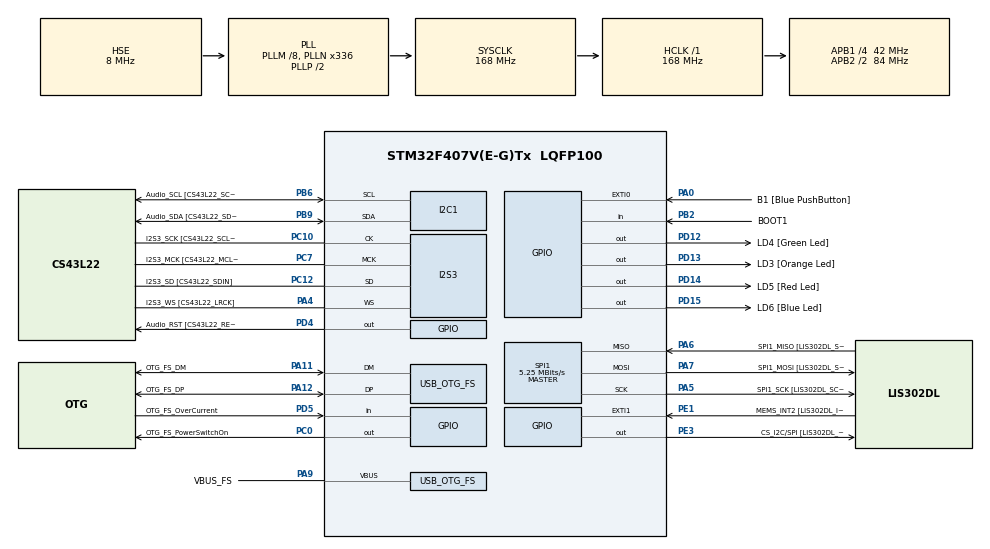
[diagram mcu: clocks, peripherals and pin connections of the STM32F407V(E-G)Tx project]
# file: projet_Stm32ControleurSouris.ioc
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I2S3.AudioFreq-Half_Duplex_Master=I2S_AUDIOFREQ_96K
I2S3.ErrorAudioFreq=-2.34 %
I2S3.ErrorAudioFreq-Half_Duplex_Master=0.8 %
I2S3.FullDuplexMode=I2S_FULLDUPLEXMODE_DISABLE
I2S3.Instance=SPI$Index
I2S3.RealAudioFreq=93.75 KHz
I2S3.RealAudioFreq-Half_Duplex_Master=96.774 KHz
I2S3.VirtualMode=I2S_MODE_MASTER
Mcu.Family=STM32F4
Mcu.Name=STM32F407V(E-G)Tx
Mcu.Package=LQFP100
NVIC.OTG_FS_IRQn=true\:0\:0\:false\:false\:true\:true\:true\:true
NVIC.PriorityGroup=NVIC_PRIORITYGROUP_0
PA0-WKUP.GPIO_Label=B1 [Blue PushButton]
PA0-WKUP.GPIO_ModeDefaultEXTI=GPIO_MODE_EVT_RISING
PA0-WKUP.GPIO_PuPd=GPIO_NOPULL
PA0-WKUP.Signal=GPXTI0
PA10.GPIO_Label=OTG_FS_ID
PA10.GPIO_Mode=GPIO_MODE_AF_PP
PA10.GPIO_PuPd=GPIO_NOPULL
PA10.GPIO_Speed=GPIO_SPEED_FREQ_LOW
PA10.Signal=USB_OTG_FS_ID
PA11.GPIO_Label=OTG_FS_DM
PA11.GPIO_Mode=GPIO_MODE_AF_PP
PA11.GPIO_PuPd=GPIO_NOPULL
PA11.GPIO_Speed=GPIO_SPEED_FREQ_LOW
PA11.Mode=Device_Only
PA11.Signal=USB_OTG_FS_DM
PA12.GPIO_Label=OTG_FS_DP
PA12.GPIO_Mode=GPIO_MODE_AF_PP
PA12.GPIO_PuPd=GPIO_NOPULL
PA12.GPIO_Speed=GPIO_SPEED_FREQ_LOW
PA12.Mode=Device_Only
PA12.Signal=USB_OTG_FS_DP
PA13.GPIO_Label=SWDIO
PA13.Mode=Serial_Wire
PA13.Signal=SYS_JTMS-SWDIO
PA14.GPIO_Label=SWCLK
PA14.Mode=Serial_Wire
PA14.Signal=SYS_JTCK-SWCLK
PA4.GPIO_Label=I2S3_WS [CS43L22_LRCK]
PA4.GPIO_Mode=GPIO_MODE_AF_PP
PA4.GPIO_PuPd=GPIO_NOPULL
PA4.GPIO_Speed=GPIO_SPEED_FREQ_LOW
PA4.Mode=Half_Duplex_Master
PA4.Signal=I2S3_WS
PA5.GPIO_Label=SPI1_SCK [LIS302DL_SCL/SPC]
PA5.GPIO_Mode=GPIO_MODE_AF_PP
PA5.GPIO_PuPd=GPIO_NOPULL
PA5.GPIO_Speed=GPIO_SPEED_FREQ_LOW
PA5.Mode=Full_Duplex_Master
PA5.Signal=SPI1_SCK
PA6.GPIO_Label=SPI1_MISO [LIS302DL_SDO]
PA6.GPIO_Mode=GPIO_MODE_AF_PP
PA6.GPIO_PuPd=GPIO_NOPULL
PA6.GPIO_Speed=GPIO_SPEED_FREQ_LOW
PA6.Mode=Full_Duplex_Master
PA6.Signal=SPI1_MISO
PA7.GPIO_Label=SPI1_MOSI [LIS302DL_SDA/SDI/SDO]
PA7.GPIO_Mode=GPIO_MODE_AF_PP
PA7.GPIO_PuPd=GPIO_NOPULL
PA7.GPIO_Speed=GPIO_SPEED_FREQ_LOW
PA7.Mode=Full_Duplex_Master
PA7.Signal=SPI1_MOSI
PA9.GPIO_Label=VBUS_FS
PA9.GPIO_Mode=GPIO_MODE_INPUT
PA9.GPIO_PuPd=GPIO_NOPULL
PA9.Mode=Activate_VBUS
PA9.Signal=USB_OTG_FS_VBUS
PB10.GPIO_Label=CLK_IN [MP45DT02_CLK]
PB10.GPIO_Mode=GPIO_MODE_AF_PP
PB10.GPIO_PuPd=GPIO_NOPULL
PB10.GPIO_Speed=GPIO_SPEED_FREQ_LOW
PB10.Signal=I2S2_CK
PB2.GPIO_Label=BOOT1
PB2.GPIO_Mode=GPIO_MODE_INPUT
PB2.GPIO_PuPd=GPIO_NOPULL
PB2.Signal=GPIO_Input
PB3.GPIO_Label=SWO
PB3.Signal=SYS_JTDO-SWO
PB6.GPIO_Label=Audio_SCL [CS43L22_SCL]
PB6.GPIO_Mode=GPIO_MODE_AF_OD
PB6.GPIO_Pu=GPIO_PULLUP
PB6.GPIO_PuPd=GPIO_NOPULL
PB6.GPIO_Speed=GPIO_SPEED_FREQ_LOW
PB6.Mode=I2C
PB6.Signal=I2C1_SCL
PB9.GPIO_Label=Audio_SDA [CS43L22_SDA]
PB9.GPIO_Mode=GPIO_MODE_AF_OD
PB9.GPIO_Pu=GPIO_PULLUP
PB9.GPIO_PuPd=GPIO_NOPULL
PB9.GPIO_Speed=GPIO_SPEED_FREQ_LOW
PB9.Mode=I2C
PB9.Signal=I2C1_SDA
PC0.GPIO_Label=OTG_FS_PowerSwitchOn
PC0.GPIO_PuPd=GPIO_NOPULL
PC0.GPIO_Speed=GPIO_SPEED_FREQ_LOW
PC0.PinState=GPIO_PIN_SET
PC0.Signal=GPIO_Output
PC10.GPIO_Label=I2S3_SCK [CS43L22_SCLK]
PC10.GPIO_Mode=GPIO_MODE_AF_PP
PC10.GPIO_PuPd=GPIO_NOPULL
PC10.GPIO_Speed=GPIO_SPEED_FREQ_LOW
PC10.Mode=Half_Duplex_Master
PC10.Signal=I2S3_CK
PC12.GPIO_Label=I2S3_SD [CS43L22_SDIN]
PC12.GPIO_Mode=GPIO_MODE_AF_PP
PC12.GPIO_PuPd=GPIO_NOPULL
PC12.GPIO_Speed=GPIO_SPEED_FREQ_LOW
PC12.Mode=Half_Duplex_Master
PC12.Signal=I2S3_SD
PC14-OSC32_IN.GPIO_Label=PC14-OSC32_IN
PC14-OSC32_IN.Mode=LSE-External-Oscillator
PC14-OSC32_IN.Signal=RCC_OSC32_IN
PC15-OSC32_OUT.GPIO_Label=PC15-OSC32_OUT
PC15-OSC32_OUT.Mode=LSE-External-Oscillator
PC15-OSC32_OUT.Signal=RCC_OSC32_OUT
PC3.GPIO_Label=PDM_OUT [MP45DT02_DOUT]
PC3.GPIO_Mode=GPIO_MODE_AF_PP
PC3.GPIO_PuPd=GPIO_NOPULL
PC3.GPIO_Speed=GPIO_SPEED_FREQ_LOW
PC3.Signal=I2S2_SD
PC7.GPIO_Label=I2S3_MCK [CS43L22_MCLK]
PC7.GPIO_Mode=GPIO_MODE_AF_PP
PC7.GPIO_PuPd=GPIO_NOPULL
PC7.GPIO_Speed=GPIO_SPEED_FREQ_LOW
PC7.Mode=Master_Clock_Activated
PC7.Signal=I2S3_MCK
PD12.GPIO_Label=LD4 [Green Led]
PD12.GPIO_PuPd=GPIO_NOPULL
PD12.GPIO_Speed=GPIO_SPEED_FREQ_LOW
PD12.Signal=GPIO_Output
PD13.GPIO_Label=LD3 [Orange Led]
PD13.GPIO_PuPd=GPIO_NOPULL
PD13.GPIO_Speed=GPIO_SPEED_FREQ_LOW
PD13.Signal=GPIO_Output
PD14.GPIO_Label=LD5 [Red Led]
PD14.GPIO_PuPd=GPIO_NOPULL
PD14.GPIO_Speed=GPIO_SPEED_FREQ_LOW
PD14.Signal=GPIO_Output
PD15.GPIO_Label=LD6 [Blue Led]
PD15.GPIO_PuPd=GPIO_NOPULL
PD15.GPIO_Speed=GPIO_SPEED_FREQ_LOW
PD15.Signal=GPIO_Output
PD4.GPIO_Label=Audio_RST [CS43L22_RESET]
PD4.GPIO_PuPd=GPIO_NOPULL
PD4.GPIO_Speed=GPIO_SPEED_FREQ_LOW
PD4.Signal=GPIO_Output
PD5.GPIO_Label=OTG_FS_OverCurrent
PD5.GPIO_Mode=GPIO_MODE_INPUT
PD5.GPIO_PuPd=GPIO_NOPULL
PD5.Signal=GPIO_Input
PE1.GPIO_Label=MEMS_INT2 [LIS302DL_INT2]
PE1.GPIO_ModeDefaultEXTI=GPIO_MODE_EVT_RISING
PE1.GPIO_PuPd=GPIO_NOPULL
PE1.Signal=GPXTI1
PE3.GPIO_Label=CS_I2C/SPI [LIS302DL_CS_I2C/SPI]
PE3.GPIO_PuPd=GPIO_NOPULL
PE3.GPIO_Speed=GPIO_SPEED_FREQ_LOW
PE3.Signal=GPIO_Output
PH0-OSC_IN.GPIO_Label=PH0-OSC_IN
PH0-OSC_IN.Mode=HSE-External-Oscillator
PH0-OSC_IN.Signal=RCC_OSC_IN
PH1-OSC_OUT.GPIO_Label=PH1-OSC_OUT
PH1-OSC_OUT.Mode=HSE-External-Oscillator
PH1-OSC_OUT.Signal=RCC_OSC_OUT
ProjectManager.HeapSize=0x200
ProjectManager.StackSize=0x400
ProjectManager.TargetToolchain=STM32CubeIDE
RCC.48MHZClocksFreq_Value=48000000
RCC.AHBFreq_Value=168000000
RCC.APB1CLKDivider=RCC_HCLK_DIV4
RCC.APB1Freq_Value=42000000
RCC.APB1TimFreq_Value=84000000
RCC.APB2CLKDivider=RCC_HCLK_DIV2
RCC.APB2Freq_Value=84000000
RCC.APB2TimFreq_Value=168000000
RCC.CortexFreq_Value=168000000
RCC.HCLKFreq_Value=168000000
RCC.HSE_VALUE=8000000
RCC.HSI_VALUE=16000000
RCC.PLLM=8
RCC.PLLN=336
RCC.PLLQ=7
RCC.SYSCLKFreq_VALUE=168000000
RCC.SYSCLKSource=RCC_SYSCLKSOURCE_PLLCLK
RCC.VCOOutputFreq_Value=336000000
SPI1.BaudRatePrescaler=SPI_BAUDRATEPRESCALER_16
SPI1.BaudRatePrescaler-Full_Duplex_Master=SPI_BAUDRATEPRESCALER_2
SPI1.CalculateBaudRate=5.25 MBits/s
SPI1.CalculateBaudRate-Full_Duplex_Master=42.0 MBits/s
SPI1.Direction=SPI_DIRECTION_2LINES
SPI1.Mode=SPI_MODE_MASTER
SPI1.Mode-Full_Duplex_Master=SPI_MODE_MASTER
SPI1.VirtualType=VM_MASTER
USB_DEVICE.CLASS_NAME_FS=HID
USB_DEVICE.VirtualMode-HID_FS=Hid
USB_DEVICE.VirtualModeFS=Hid_FS
USB_OTG_FS.VirtualMode=Device_Only
VP_USB_DEVICE_VS_USB_DEVICE_HID_FS.Mode=HID_FS
board=STM32F407G-DISC1

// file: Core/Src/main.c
/* USER CODE BEGIN Header */
/**
  ******************************************************************************
  * @file           : main.c
  * @brief          : Main program body
  ******************************************************************************
  * @attention
  *
  * Copyright (c) 2026 STMicroelectronics.
  * All rights reserved.
  *
  * This software is licensed under terms that can be found in the LICENSE file
  * in the root directory of this software component.
  * If no LICENSE file comes with this software, it is provided AS-IS.
  *
  ******************************************************************************
  */
/* USER CODE END Header */
#include "main.h"
#include "usb_device.h"

/* USER CODE BEGIN Includes */
#include "usbd_hid.h"
/* USER CODE END Includes */

I2C_HandleTypeDef hi2c1;

I2S_HandleTypeDef hi2s3;

SPI_HandleTypeDef hspi1;

/* USER CODE BEGIN PV */
extern USBD_HandleTypeDef hUsbDeviceFS;
/* USER CODE END PV */

void SystemClock_Config(void);
static void MX_GPIO_Init(void);
static void MX_I2C1_Init(void);
static void MX_I2S3_Init(void);
static void MX_SPI1_Init(void);
/* USER CODE BEGIN PFP */
void MEMS_Write(uint8_t address, uint8_t data);
void MEMS_Read(uint8_t address, uint8_t *data);
/* USER CODE END PFP */

int main(void)
{

  /* MCU Configuration--------------------------------------------------------*/

  /* Reset of all peripherals, Initializes the Flash interface and the Systick. */
  HAL_Init();

  /* Configure the system clock */
  SystemClock_Config();

  /* Initialize all configured peripherals */
  MX_GPIO_Init();
  MX_I2C1_Init();
  MX_I2S3_Init();
  MX_SPI1_Init();
  MX_USB_DEVICE_Init();
  /* USER CODE BEGIN 2 */
  HAL_GPIO_WritePin(GPIOE, GPIO_PIN_3, GPIO_PIN_SET); // 1. Forcer la broche à l'état inactif
  HAL_Delay(50);                                      // 2. Attendre la tension
  MEMS_Write(0x20, 0x47);                             // 3. Allumer le capteur
  /* USER CODE END 2 */

  /* Infinite loop */
  /* USER CODE BEGIN WHILE */
  while (1)
  {
	  uint8_t x_raw, y_raw;

	    MEMS_Read(0x29, &x_raw);
	    MEMS_Read(0x2B, &y_raw);

	    int8_t x_accel = (int8_t)x_raw;
	    int8_t y_accel = (int8_t)y_raw;

	    // 1. REGLAGE DU SEUIL (Zone morte)
	    // Augmentez la valeur (ex: 20 ou 25) pour que la souris soit moins sensible aux petits tremblements.
	    // Diminuez la valeur (ex: 5) pour qu'elle réagisse au moindre mouvement.
	    int seuil = 15;
	    if (x_accel > -seuil && x_accel < seuil) x_accel = 0;
	    if (y_accel > -seuil && y_accel < seuil) y_accel = 0;

	    // 2. REGLAGE DE LA SENSIBILITÉ (Vitesse)
	    // Ajustement de la vitesse de pointe du curseur :
	    // 2 = Souris très rapide
	    // 4 = Vitesse moyenne
	    // 8 = Souris très lente et précise
	    int diviseur = 4;

	    // Le '-' sur l'axe X inverse le mouvement pour qu'il soit logique sur l'écran
	    int8_t x_mouse = x_accel / -diviseur;
	    int8_t y_mouse = y_accel / diviseur;

	    struct {
	        uint8_t buttons;
	        int8_t x;
	        int8_t y;
	        int8_t wheel;
	    } mouse_report = {0, x_mouse, y_mouse, 0};

	    USBD_HID_SendReport(&hUsbDeviceFS, (uint8_t*)&mouse_report, sizeof(mouse_report));

	    HAL_Delay(10); // Rafraîchissement toutes les 10ms
    /* USER CODE END WHILE */

  }
}

void SystemClock_Config(void)
{
  RCC_OscInitTypeDef RCC_OscInitStruct = {0};
  RCC_ClkInitTypeDef RCC_ClkInitStruct = {0};

  /** Configure the main internal regulator output voltage
  */
  __HAL_RCC_PWR_CLK_ENABLE();
  __HAL_PWR_VOLTAGESCALING_CONFIG(PWR_REGULATOR_VOLTAGE_SCALE1);

  /** Initializes the RCC Oscillators according to the specified parameters
  * in the RCC_OscInitTypeDef structure.
  */
  RCC_OscInitStruct.OscillatorType = RCC_OSCILLATORTYPE_HSE;
  RCC_OscInitStruct.HSEState = RCC_HSE_ON;
  RCC_OscInitStruct.PLL.PLLState = RCC_PLL_ON;
  RCC_OscInitStruct.PLL.PLLSource = RCC_PLLSOURCE_HSE;
  RCC_OscInitStruct.PLL.PLLM = 8;
  RCC_OscInitStruct.PLL.PLLN = 336;
  RCC_OscInitStruct.PLL.PLLP = RCC_PLLP_DIV2;
  RCC_OscInitStruct.PLL.PLLQ = 7;
  if (HAL_RCC_OscConfig(&RCC_OscInitStruct) != HAL_OK)
  {
    Error_Handler();
  }

  /** Initializes the CPU, AHB and APB buses clocks
  */
  RCC_ClkInitStruct.ClockType = RCC_CLOCKTYPE_HCLK|RCC_CLOCKTYPE_SYSCLK
                              |RCC_CLOCKTYPE_PCLK1|RCC_CLOCKTYPE_PCLK2;
  RCC_ClkInitStruct.SYSCLKSource = RCC_SYSCLKSOURCE_PLLCLK;
  RCC_ClkInitStruct.AHBCLKDivider = RCC_SYSCLK_DIV1;
  RCC_ClkInitStruct.APB1CLKDivider = RCC_HCLK_DIV4;
  RCC_ClkInitStruct.APB2CLKDivider = RCC_HCLK_DIV2;

  if (HAL_RCC_ClockConfig(&RCC_ClkInitStruct, FLASH_LATENCY_5) != HAL_OK)
  {
    Error_Handler();
  }
}

static void MX_I2C1_Init(void)
{

  hi2c1.Instance = I2C1;
  hi2c1.Init.ClockSpeed = 100000;
  hi2c1.Init.DutyCycle = I2C_DUTYCYCLE_2;
  hi2c1.Init.OwnAddress1 = 0;
  hi2c1.Init.AddressingMode = I2C_ADDRESSINGMODE_7BIT;
  hi2c1.Init.DualAddressMode = I2C_DUALADDRESS_DISABLE;
  hi2c1.Init.OwnAddress2 = 0;
  hi2c1.Init.GeneralCallMode = I2C_GENERALCALL_DISABLE;
  hi2c1.Init.NoStretchMode = I2C_NOSTRETCH_DISABLE;
  if (HAL_I2C_Init(&hi2c1) != HAL_OK)
  {
    Error_Handler();
  }

}

static void MX_I2S3_Init(void)
{

  hi2s3.Instance = SPI3;
  hi2s3.Init.Mode = I2S_MODE_MASTER_TX;
  hi2s3.Init.Standard = I2S_STANDARD_PHILIPS;
  hi2s3.Init.DataFormat = I2S_DATAFORMAT_16B;
  hi2s3.Init.MCLKOutput = I2S_MCLKOUTPUT_ENABLE;
  hi2s3.Init.AudioFreq = I2S_AUDIOFREQ_96K;
  hi2s3.Init.CPOL = I2S_CPOL_LOW;
  hi2s3.Init.ClockSource = I2S_CLOCK_PLL;
  hi2s3.Init.FullDuplexMode = I2S_FULLDUPLEXMODE_DISABLE;
  if (HAL_I2S_Init(&hi2s3) != HAL_OK)
  {
    Error_Handler();
  }

}

static void MX_SPI1_Init(void)
{

  /* SPI1 parameter configuration*/
  hspi1.Instance = SPI1;
  hspi1.Init.Mode = SPI_MODE_MASTER;
  hspi1.Init.Direction = SPI_DIRECTION_2LINES;
  hspi1.Init.DataSize = SPI_DATASIZE_8BIT;
  hspi1.Init.CLKPolarity = SPI_POLARITY_LOW;
  hspi1.Init.CLKPhase = SPI_PHASE_1EDGE;
  hspi1.Init.NSS = SPI_NSS_SOFT;
  hspi1.Init.BaudRatePrescaler = SPI_BAUDRATEPRESCALER_16;
  hspi1.Init.FirstBit = SPI_FIRSTBIT_MSB;
  hspi1.Init.TIMode = SPI_TIMODE_DISABLE;
  hspi1.Init.CRCCalculation = SPI_CRCCALCULATION_DISABLE;
  hspi1.Init.CRCPolynomial = 10;
  if (HAL_SPI_Init(&hspi1) != HAL_OK)
  {
    Error_Handler();
  }

}

static void MX_GPIO_Init(void)
{
  GPIO_InitTypeDef GPIO_InitStruct = {0};

  /* GPIO Ports Clock Enable */
  __HAL_RCC_GPIOE_CLK_ENABLE();
  __HAL_RCC_GPIOC_CLK_ENABLE();
  __HAL_RCC_GPIOH_CLK_ENABLE();
  __HAL_RCC_GPIOA_CLK_ENABLE();
  __HAL_RCC_GPIOB_CLK_ENABLE();
  __HAL_RCC_GPIOD_CLK_ENABLE();

  /*Configure GPIO pin Output Level */
  HAL_GPIO_WritePin(CS_I2C_SPI_GPIO_Port, CS_I2C_SPI_Pin, GPIO_PIN_RESET);

  /*Configure GPIO pin Output Level */
  HAL_GPIO_WritePin(OTG_FS_PowerSwitchOn_GPIO_Port, OTG_FS_PowerSwitchOn_Pin, GPIO_PIN_SET);

  /*Configure GPIO pin Output Level */
  HAL_GPIO_WritePin(GPIOD, LD4_Pin|LD3_Pin|LD5_Pin|LD6_Pin
                          |Audio_RST_Pin, GPIO_PIN_RESET);

  /*Configure GPIO pin : CS_I2C_SPI_Pin */
  GPIO_InitStruct.Pin = CS_I2C_SPI_Pin;
  GPIO_InitStruct.Mode = GPIO_MODE_OUTPUT_PP;
  GPIO_InitStruct.Pull = GPIO_NOPULL;
  GPIO_InitStruct.Speed = GPIO_SPEED_FREQ_LOW;
  HAL_GPIO_Init(CS_I2C_SPI_GPIO_Port, &GPIO_InitStruct);

  /*Configure GPIO pin : OTG_FS_PowerSwitchOn_Pin */
  GPIO_InitStruct.Pin = OTG_FS_PowerSwitchOn_Pin;
  GPIO_InitStruct.Mode = GPIO_MODE_OUTPUT_PP;
  GPIO_InitStruct.Pull = GPIO_NOPULL;
  GPIO_InitStruct.Speed = GPIO_SPEED_FREQ_LOW;
  HAL_GPIO_Init(OTG_FS_PowerSwitchOn_GPIO_Port, &GPIO_InitStruct);

  /*Configure GPIO pin : PDM_OUT_Pin */
  GPIO_InitStruct.Pin = PDM_OUT_Pin;
  GPIO_InitStruct.Mode = GPIO_MODE_AF_PP;
  GPIO_InitStruct.Pull = GPIO_NOPULL;
  GPIO_InitStruct.Speed = GPIO_SPEED_FREQ_LOW;
  GPIO_InitStruct.Alternate = GPIO_AF5_SPI2;
  HAL_GPIO_Init(PDM_OUT_GPIO_Port, &GPIO_InitStruct);

  /*Configure GPIO pin : B1_Pin */
  GPIO_InitStruct.Pin = B1_Pin;
  GPIO_InitStruct.Mode = GPIO_MODE_EVT_RISING;
  GPIO_InitStruct.Pull = GPIO_NOPULL;
  HAL_GPIO_Init(B1_GPIO_Port, &GPIO_InitStruct);

  /*Configure GPIO pin : BOOT1_Pin */
  GPIO_InitStruct.Pin = BOOT1_Pin;
  GPIO_InitStruct.Mode = GPIO_MODE_INPUT;
  GPIO_InitStruct.Pull = GPIO_NOPULL;
  HAL_GPIO_Init(BOOT1_GPIO_Port, &GPIO_InitStruct);

  /*Configure GPIO pin : CLK_IN_Pin */
  GPIO_InitStruct.Pin = CLK_IN_Pin;
  GPIO_InitStruct.Mode = GPIO_MODE_AF_PP;
  GPIO_InitStruct.Pull = GPIO_NOPULL;
  GPIO_InitStruct.Speed = GPIO_SPEED_FREQ_LOW;
  GPIO_InitStruct.Alternate = GPIO_AF5_SPI2;
  HAL_GPIO_Init(CLK_IN_GPIO_Port, &GPIO_InitStruct);

  /*Configure GPIO pins : LD4_Pin LD3_Pin LD5_Pin LD6_Pin
                           Audio_RST_Pin */
  GPIO_InitStruct.Pin = LD4_Pin|LD3_Pin|LD5_Pin|LD6_Pin
                          |Audio_RST_Pin;
  GPIO_InitStruct.Mode = GPIO_MODE_OUTPUT_PP;
  GPIO_InitStruct.Pull = GPIO_NOPULL;
  GPIO_InitStruct.Speed = GPIO_SPEED_FREQ_LOW;
  HAL_GPIO_Init(GPIOD, &GPIO_InitStruct);

  /*Configure GPIO pin : OTG_FS_OverCurrent_Pin */
  GPIO_InitStruct.Pin = OTG_FS_OverCurrent_Pin;
  GPIO_InitStruct.Mode = GPIO_MODE_INPUT;
  GPIO_InitStruct.Pull = GPIO_NOPULL;
  HAL_GPIO_Init(OTG_FS_OverCurrent_GPIO_Port, &GPIO_InitStruct);

  /*Configure GPIO pin : MEMS_INT2_Pin */
  GPIO_InitStruct.Pin = MEMS_INT2_Pin;
  GPIO_InitStruct.Mode = GPIO_MODE_EVT_RISING;
  GPIO_InitStruct.Pull = GPIO_NOPULL;
  HAL_GPIO_Init(MEMS_INT2_GPIO_Port, &GPIO_InitStruct);

}

/* USER CODE BEGIN 4 */

void MEMS_Write(uint8_t address, uint8_t data) {
    HAL_GPIO_WritePin(GPIOE, GPIO_PIN_3, GPIO_PIN_RESET); // Activer le capteur (CS Low)
    HAL_SPI_Transmit(&hspi1, &address, 1, 10);            // Envoyer l'adresse mémoire
    HAL_SPI_Transmit(&hspi1, &data, 1, 10);               // Envoyer la valeur
    HAL_GPIO_WritePin(GPIOE, GPIO_PIN_3, GPIO_PIN_SET);   // Désactiver (CS High)
}

void MEMS_Read(uint8_t address, uint8_t *data) {
    address |= 0x80; // Masque binaire : mettre le bit fort à 1 pour indiquer une LECTURE
    HAL_GPIO_WritePin(GPIOE, GPIO_PIN_3, GPIO_PIN_RESET); // CS Low
    HAL_SPI_Transmit(&hspi1, &address, 1, 10);            // Envoyer l'adresse à lire
    HAL_SPI_Receive(&hspi1, data, 1, 10);                 // Récupérer la donnée
    HAL_GPIO_WritePin(GPIOE, GPIO_PIN_3, GPIO_PIN_SET);   // CS High
}

/* USER CODE END 4 */

void Error_Handler(void)
{
  __disable_irq();
  while (1)
  {
  }
}
